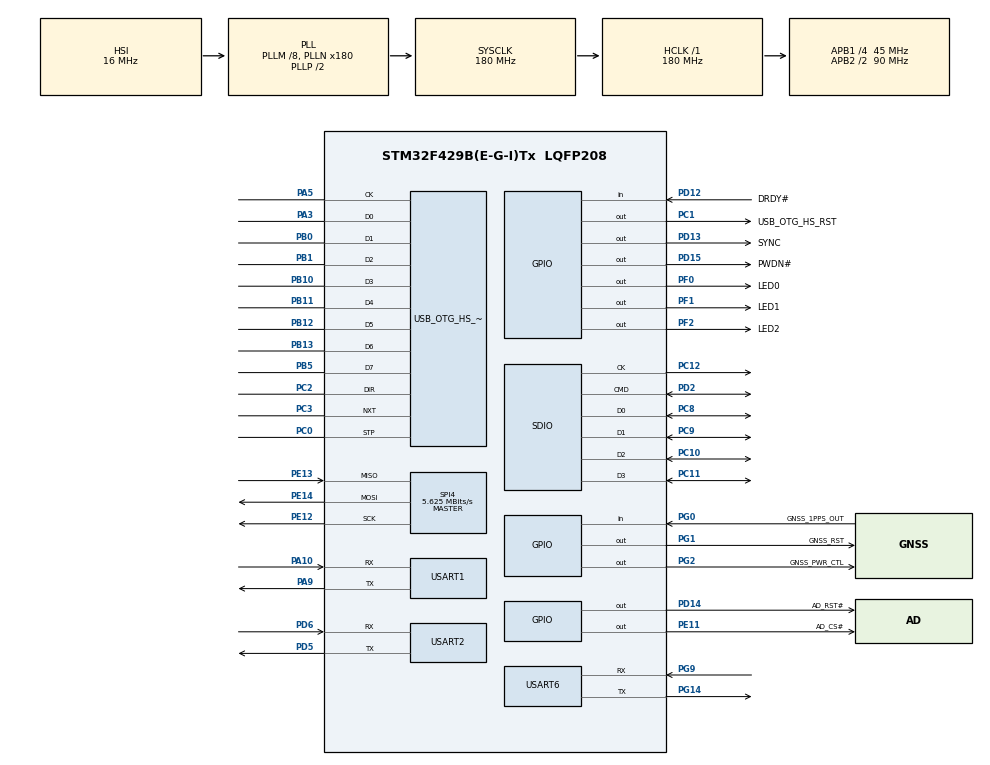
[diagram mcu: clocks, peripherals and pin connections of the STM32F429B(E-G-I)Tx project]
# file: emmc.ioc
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Dma.Request0=SDIO_TX
Dma.Request1=SDIO_RX
Dma.SDIO_RX.1.Direction=DMA_PERIPH_TO_MEMORY
Dma.SDIO_RX.1.FIFOMode=DMA_FIFOMODE_ENABLE
Dma.SDIO_RX.1.FIFOThreshold=DMA_FIFO_THRESHOLD_FULL
Dma.SDIO_RX.1.Instance=DMA2_Stream6
Dma.SDIO_RX.1.MemBurst=DMA_MBURST_INC4
Dma.SDIO_RX.1.MemDataAlignment=DMA_MDATAALIGN_WORD
Dma.SDIO_RX.1.MemInc=DMA_MINC_ENABLE
Dma.SDIO_RX.1.Mode=DMA_PFCTRL
Dma.SDIO_RX.1.PeriphBurst=DMA_PBURST_INC4
Dma.SDIO_RX.1.PeriphDataAlignment=DMA_PDATAALIGN_WORD
Dma.SDIO_RX.1.PeriphInc=DMA_PINC_DISABLE
Dma.SDIO_RX.1.Priority=DMA_PRIORITY_HIGH
Dma.SDIO_TX.0.Direction=DMA_MEMORY_TO_PERIPH
Dma.SDIO_TX.0.FIFOMode=DMA_FIFOMODE_ENABLE
Dma.SDIO_TX.0.FIFOThreshold=DMA_FIFO_THRESHOLD_FULL
Dma.SDIO_TX.0.Instance=DMA2_Stream3
Dma.SDIO_TX.0.MemBurst=DMA_MBURST_INC4
Dma.SDIO_TX.0.MemDataAlignment=DMA_MDATAALIGN_WORD
Dma.SDIO_TX.0.MemInc=DMA_MINC_ENABLE
Dma.SDIO_TX.0.Mode=DMA_PFCTRL
Dma.SDIO_TX.0.PeriphBurst=DMA_PBURST_INC4
Dma.SDIO_TX.0.PeriphDataAlignment=DMA_PDATAALIGN_WORD
Dma.SDIO_TX.0.PeriphInc=DMA_PINC_DISABLE
Dma.SDIO_TX.0.Priority=DMA_PRIORITY_HIGH
FATFS._CODE_PAGE=936
FATFS._USE_LFN=2
Mcu.Family=STM32F4
Mcu.Name=STM32F429B(E-G-I)Tx
Mcu.Package=LQFP208
NVIC.DMA2_Stream3_IRQn=true\:6\:0\:true\:false\:true\:false\:true\:true
NVIC.DMA2_Stream6_IRQn=true\:6\:0\:true\:false\:true\:false\:true\:true
NVIC.OTG_HS_IRQn=true\:7\:0\:true\:false\:true\:false\:true\:true
NVIC.PriorityGroup=NVIC_PRIORITYGROUP_4
NVIC.SDIO_IRQn=true\:5\:0\:true\:false\:true\:true\:true\:true
NVIC.SPI4_IRQn=true\:0\:0\:false\:false\:true\:true\:true\:true
NVIC.USART1_IRQn=true\:0\:0\:false\:false\:true\:true\:true\:true
NVIC.USART2_IRQn=true\:0\:0\:false\:false\:true\:true\:true\:true
NVIC.USART6_IRQn=true\:0\:0\:false\:false\:true\:true\:true\:true
PA10.Mode=Asynchronous
PA10.Signal=USART1_RX
PA13.Signal=SYS_JTMS-SWDIO
PA14.Signal=SYS_JTCK-SWCLK
PA3.Mode=Device_HS
PA3.Signal=USB_OTG_HS_ULPI_D0
PA5.Mode=Device_HS
PA5.Signal=USB_OTG_HS_ULPI_CK
PA9.Mode=Asynchronous
PA9.Signal=USART1_TX
PB0.Mode=Device_HS
PB0.Signal=USB_OTG_HS_ULPI_D1
PB1.Mode=Device_HS
PB1.Signal=USB_OTG_HS_ULPI_D2
PB10.Mode=Device_HS
PB10.Signal=USB_OTG_HS_ULPI_D3
PB11.Mode=Device_HS
PB11.Signal=USB_OTG_HS_ULPI_D4
PB12.Mode=Device_HS
PB12.Signal=USB_OTG_HS_ULPI_D5
PB13.Mode=Device_HS
PB13.Signal=USB_OTG_HS_ULPI_D6
PB5.Mode=Device_HS
PB5.Signal=USB_OTG_HS_ULPI_D7
PC0.Mode=Device_HS
PC0.Signal=USB_OTG_HS_ULPI_STP
PC1.GPIO_Label=USB_OTG_HS_RST
PC1.GPIO_Speed=GPIO_SPEED_FREQ_HIGH
PC1.PinState=GPIO_PIN_SET
PC1.Signal=GPIO_Output
PC10.GPIO_Mode=GPIO_MODE_AF_PP
PC10.GPIO_PuPd=GPIO_PULLUP
PC10.GPIO_Speed_High_Default=GPIO_SPEED_FREQ_VERY_HIGH
PC10.Mode=mmc_4_bits_Wide_bus
PC10.Signal=SDIO_D2
PC11.GPIO_Mode=GPIO_MODE_AF_PP
PC11.GPIO_PuPd=GPIO_PULLUP
PC11.GPIO_Speed_High_Default=GPIO_SPEED_FREQ_VERY_HIGH
PC11.Mode=mmc_4_bits_Wide_bus
PC11.Signal=SDIO_D3
PC12.GPIO_Mode=GPIO_MODE_AF_PP
PC12.GPIO_PuPd=GPIO_PULLUP
PC12.GPIO_Speed_High_Default=GPIO_SPEED_FREQ_VERY_HIGH
PC12.Mode=mmc_4_bits_Wide_bus
PC12.Signal=SDIO_CK
PC14/OSC32_IN.Mode=LSE-External-Oscillator
PC14/OSC32_IN.Signal=RCC_OSC32_IN
PC15/OSC32_OUT.Mode=LSE-External-Oscillator
PC15/OSC32_OUT.Signal=RCC_OSC32_OUT
PC2.Mode=Device_HS
PC2.Signal=USB_OTG_HS_ULPI_DIR
PC3.Mode=Device_HS
PC3.Signal=USB_OTG_HS_ULPI_NXT
PC8.GPIO_PuPd=GPIO_PULLUP
PC8.Mode=mmc_4_bits_Wide_bus
PC8.Signal=SDIO_D0
PC9.GPIO_Mode=GPIO_MODE_AF_PP
PC9.GPIO_PuPd=GPIO_PULLUP
PC9.GPIO_Speed_High_Default=GPIO_SPEED_FREQ_VERY_HIGH
PC9.Mode=mmc_4_bits_Wide_bus
PC9.Signal=SDIO_D1
PD12.GPIO_Label=DRDY\#
PD12.Signal=GPIO_Input
PD13.GPIO_Label=SYNC
PD13.Signal=GPIO_Output
PD14.GPIO_Label=AD_RST\#
PD14.PinState=GPIO_PIN_SET
PD14.Signal=GPIO_Output
PD15.GPIO_Label=PWDN\#
PD15.PinState=GPIO_PIN_SET
PD15.Signal=GPIO_Output
PD2.GPIO_Mode=GPIO_MODE_AF_PP
PD2.GPIO_PuPd=GPIO_PULLUP
PD2.GPIO_Speed_High_Default=GPIO_SPEED_FREQ_VERY_HIGH
PD2.Mode=mmc_4_bits_Wide_bus
PD2.Signal=SDIO_CMD
PD5.Mode=Asynchronous
PD5.Signal=USART2_TX
PD6.Mode=Asynchronous
PD6.Signal=USART2_RX
PE11.GPIO_Label=AD_CS\#
PE11.PinState=GPIO_PIN_SET
PE11.Signal=GPIO_Output
PE12.Mode=Full_Duplex_Master
PE12.Signal=SPI4_SCK
PE13.Mode=Full_Duplex_Master
PE13.Signal=SPI4_MISO
PE14.Mode=Full_Duplex_Master
PE14.Signal=SPI4_MOSI
PF0.GPIO_Label=LED0
PF0.Signal=GPIO_Output
PF1.GPIO_Label=LED1
PF1.Signal=GPIO_Output
PF2.GPIO_Label=LED2
PF2.Signal=GPIO_Output
PG0.GPIO_Label=GNSS_1PPS_OUT
PG0.Signal=GPIO_Input
PG1.GPIO_Label=GNSS_RST
PG1.PinState=GPIO_PIN_SET
PG1.Signal=GPIO_Output
PG14.Mode=Asynchronous
PG14.Signal=USART6_TX
PG2.GPIO_Label=GNSS_PWR_CTL
PG2.PinState=GPIO_PIN_SET
PG2.Signal=GPIO_Output
PG9.Mode=Asynchronous
PG9.Signal=USART6_RX
PH0/OSC_IN.Mode=HSE-External-Oscillator
PH0/OSC_IN.Signal=RCC_OSC_IN
PH1/OSC_OUT.Mode=HSE-External-Oscillator
PH1/OSC_OUT.Signal=RCC_OSC_OUT
ProjectManager.HeapSize=0x1000
ProjectManager.StackSize=0x1000
ProjectManager.TargetToolchain=MDK-ARM V5.32
RCC.48MHZClocksFreq_Value=45000000
RCC.AHBFreq_Value=180000000
RCC.APB1CLKDivider=RCC_HCLK_DIV4
RCC.APB1Freq_Value=45000000
RCC.APB1TimFreq_Value=90000000
RCC.APB2CLKDivider=RCC_HCLK_DIV2
RCC.APB2Freq_Value=90000000
RCC.APB2TimFreq_Value=180000000
RCC.CortexFreq_Value=180000000
RCC.HCLKFreq_Value=180000000
RCC.HSE_VALUE=25000000
RCC.HSI_VALUE=16000000
RCC.PLLM=8
RCC.PLLN=180
RCC.PLLQ=8
RCC.RCC_RTC_Clock_Source=RCC_RTCCLKSOURCE_LSE
RCC.SYSCLKFreq_VALUE=180000000
RCC.SYSCLKSource=RCC_SYSCLKSOURCE_PLLCLK
RCC.VCOOutputFreq_Value=360000000
SPI4.BaudRatePrescaler=SPI_BAUDRATEPRESCALER_16
SPI4.CalculateBaudRate=5.625 MBits/s
SPI4.Direction=SPI_DIRECTION_2LINES
SPI4.Mode=SPI_MODE_MASTER
SPI4.VirtualType=VM_MASTER
USART1.VirtualMode=VM_ASYNC
USART2.VirtualMode=VM_ASYNC
USART6.VirtualMode=VM_ASYNC
USB_DEVICE.CLASS_NAME_HS=MSC
USB_DEVICE.MSC_MEDIA_PACKET-MSC_HS=2048
USB_DEVICE.PID_MSC_HS=22388
USB_DEVICE.VID-MSC_HS=1166
USB_DEVICE.VirtualMode-MSC_HS=Msc
USB_DEVICE.VirtualModeHS=Msc_HS
USB_OTG_HS.DeviceSpeed-Device_HS=PCD_SPEED_HIGH
USB_OTG_HS.VirtualMode-Device_HS=Device_HS
VP_FATFS_VS_Generic.Mode=User_defined
VP_RTC_VS_RTC_Activate.Mode=RTC_Enabled
VP_RTC_VS_RTC_Calendar.Mode=RTC_Calendar
VP_USB_DEVICE_VS_USB_DEVICE_MSC_HS.Mode=MSC_HS
board=custom

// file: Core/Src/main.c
/* USER CODE BEGIN Header */
/**
  ******************************************************************************
  * @file           : main.c
  * @brief          : Main program body
  ******************************************************************************
  * @attention
  *
  * Copyright (c) 2024 STMicroelectronics.
  * All rights reserved.
  *
  * This software is licensed under terms that can be found in the LICENSE file
  * in the root directory of this software component.
  * If no LICENSE file comes with this software, it is provided AS-IS.
  *
  ******************************************************************************
  */
/* USER CODE END Header */
#include "main.h"
#include "dma.h"
#include "fatfs.h"
#include "rtc.h"
#include "sdio.h"
#include "spi.h"
#include "usart.h"
#include "usb_device.h"
#include "gpio.h"
/* USER CODE BEGIN Includes */

#include "bsp_head.h"
/* USER CODE END Includes */

/* USER CODE BEGIN PV */

extern uint8_t gnssByte;

/* USER CODE END PV */

void SystemClock_Config(void);
/* USER CODE BEGIN PFP */
//void FlushBufferToSD(uint8_t bufferIndex);

/* USER CODE END PFP */

/* USER CODE BEGIN 0 */

/*************************************************************************************/

/* USER CODE END 0 */

int main(void)
{

  /* MCU Configuration--------------------------------------------------------*/

  /* Reset of all peripherals, Initializes the Flash interface and the Systick. */
  HAL_Init();

  /* Configure the system clock */
  SystemClock_Config();

  /* Initialize all configured peripherals */
  MX_GPIO_Init();
  MX_DMA_Init();
  MX_RTC_Init();
  MX_SDIO_MMC_Init();
  MX_USART1_UART_Init();
  MX_USART6_UART_Init();
  MX_SPI4_Init();
  MX_USART2_UART_Init();
  MX_FATFS_Init();
  MX_USB_DEVICE_Init();
  HAL_NVIC_SetPriority(SDIO_IRQn, 6, 0);        // SDIO 较低优先级
  /* USER CODE BEGIN 2 */

  BufferSystem_Init();// 初始化三重缓冲系统

	 extern int FATFS_Mount(void);
  FATFS_Mount();
	Check_CreateConfig();
	LoadConfigFromFile();
	if (g_config.use_time_from_config)
{
    RTC_SetTimeFromConfig();  // 在 ADS1285 初始化和 GNSS 授时前调用
}

	if (ADS1285_StartupSequence(&hads1285) != HAL_OK)
  {
		printf("ADS1285 init failed\n");
		Error_Handler();
	}

	if(ADS1285_WriteReg_Continuous (&hads1285) != HAL_OK)
	{
		return HAL_ERROR;
	}

  /* USER CODE END 2 */

  /* Infinite loop */
  /* USER CODE BEGIN WHILE */

  HAL_Delay(2000); //等待um980返回默认Device内容后再发送
	UM980_StatusCheck();//发送命令给um980
	HAL_UART_Receive_IT(&huart6, &gnssByte, 1);  // 启动第1个字节接收
  while (1)
  {
			MainLoop_StateMachine();

    /* USER CODE END WHILE */
    /* USER CODE BEGIN 3 */
  }
//  f_close(&rawDataFile);
//  printf("数据文件已关闭\r\n");
  /* USER CODE END 3 */
}

void SystemClock_Config(void)
{
  RCC_OscInitTypeDef RCC_OscInitStruct = {0};
  RCC_ClkInitTypeDef RCC_ClkInitStruct = {0};

  /** Configure the main internal regulator output voltage
  */
  __HAL_RCC_PWR_CLK_ENABLE();
  __HAL_PWR_VOLTAGESCALING_CONFIG(PWR_REGULATOR_VOLTAGE_SCALE1);

  /** Initializes the RCC Oscillators according to the specified parameters
  * in the RCC_OscInitTypeDef structure.
  */
  RCC_OscInitStruct.OscillatorType = RCC_OSCILLATORTYPE_HSI|RCC_OSCILLATORTYPE_LSE;
  RCC_OscInitStruct.LSEState = RCC_LSE_ON;
  RCC_OscInitStruct.HSIState = RCC_HSI_ON;
  RCC_OscInitStruct.HSICalibrationValue = RCC_HSICALIBRATION_DEFAULT;
  RCC_OscInitStruct.PLL.PLLState = RCC_PLL_ON;
  RCC_OscInitStruct.PLL.PLLSource = RCC_PLLSOURCE_HSI;
  RCC_OscInitStruct.PLL.PLLM = 8;
  RCC_OscInitStruct.PLL.PLLN = 180;
  RCC_OscInitStruct.PLL.PLLP = RCC_PLLP_DIV2;
  RCC_OscInitStruct.PLL.PLLQ = 8;
  if (HAL_RCC_OscConfig(&RCC_OscInitStruct) != HAL_OK)
  {
    Error_Handler();
  }

  /** Activate the Over-Drive mode
  */
  if (HAL_PWREx_EnableOverDrive() != HAL_OK)
  {
    Error_Handler();
  }

  /** Initializes the CPU, AHB and APB buses clocks
  */
  RCC_ClkInitStruct.ClockType = RCC_CLOCKTYPE_HCLK|RCC_CLOCKTYPE_SYSCLK
                              |RCC_CLOCKTYPE_PCLK1|RCC_CLOCKTYPE_PCLK2;
  RCC_ClkInitStruct.SYSCLKSource = RCC_SYSCLKSOURCE_PLLCLK;
  RCC_ClkInitStruct.AHBCLKDivider = RCC_SYSCLK_DIV1;
  RCC_ClkInitStruct.APB1CLKDivider = RCC_HCLK_DIV4;
  RCC_ClkInitStruct.APB2CLKDivider = RCC_HCLK_DIV2;

  if (HAL_RCC_ClockConfig(&RCC_ClkInitStruct, FLASH_LATENCY_5) != HAL_OK)
  {
    Error_Handler();
  }
}

void Error_Handler(void)
{
  __disable_irq();
  while (1)
  {
  }
}
